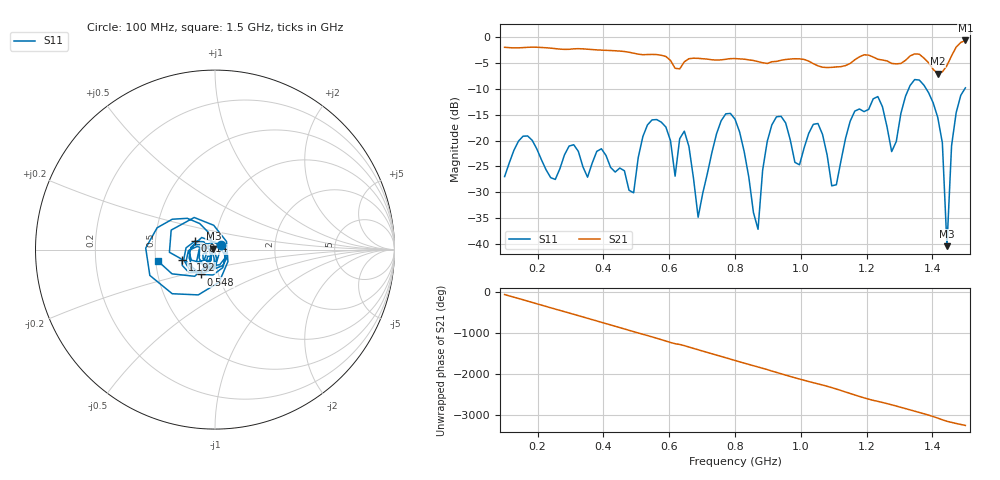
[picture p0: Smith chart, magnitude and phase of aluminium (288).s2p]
! NanoVNA-App
! Date: 2025-09-25 14:57:31
! Start: 100MHz Stop: 1,5GHz Points: 101
! S-Parameter data: F S11 S21 S12 S22
# Hz S RI R 50
!  Frequency  S11_Real  S11_Imag  S21_Real  S21_Imag  S12_Real  S12_Imag  S22_Real  S22_Imag
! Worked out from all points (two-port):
!   101 points, 100 MHz to 1.5 GHz, reference 50 ohm
!   highest |S21| = -0.60 dB at 1.5 GHz (marker M1); lowest = -7.0 dB at 1.416 GHz (marker M2)
!   |S21| within 3 dB of the highest: start of sweep to 583.9 MHz; 1.458 GHz to end of sweep (the widest 2 of 4)
!   lowest |S11| = -40.4 dB at 1.444 GHz (marker M3), VSWR 1.02, Z = 49.2 + j0.434 ohm
!   |S11| at or under -10 dB: start of sweep to 1.327 GHz; 1.381 GHz to 1.498 GHz (116.5 MHz wide, 8.09 % of centre)
!   S12 and S22 are empty: the file has one direction only
!   S11 on the Smith chart (normalised r, x): 100 MHz: 1.07, +0.06; 548 MHz: 0.82, -0.23; 814 MHz: 0.80, +0.07; 1.192 GHz: 0.69, -0.08; 1.5 GHz: 0.51, -0.07
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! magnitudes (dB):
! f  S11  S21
! 100 MHz  -27.0  -1.9
! 338 MHz  -25.1  -2.2
! 492 MHz  -30.1  -3.1
! 548 MHz  -16.0  -3.3
! 576 MHz  -16.4  -3.5
! 618 MHz  -26.9  -6.0
! 646 MHz  -18.2  -4.7
! 688 MHz  -34.8  -4.1
! 800 MHz  -15.8  -4.1
! 814 MHz  -18.3  -4.2
! 870 MHz  -37.2  -4.7
! 912 MHz  -16.9  -4.7
! 996 MHz  -24.7  -4.2
! 1.038 GHz  -16.8  -5.1
! 1.094 GHz  -28.8  -5.8
! 1.192 GHz  -14.4  -3.4
! 1.276 GHz  -22.1  -5.0
! 1.346 GHz  -8.2  -3.2
! 1.416 GHz  -15.5  -7.0
! 1.444 GHz  -40.4  -5.5
! 1.458 GHz  -21.0  -3.6
! 1.5 GHz  -9.8  -0.6
